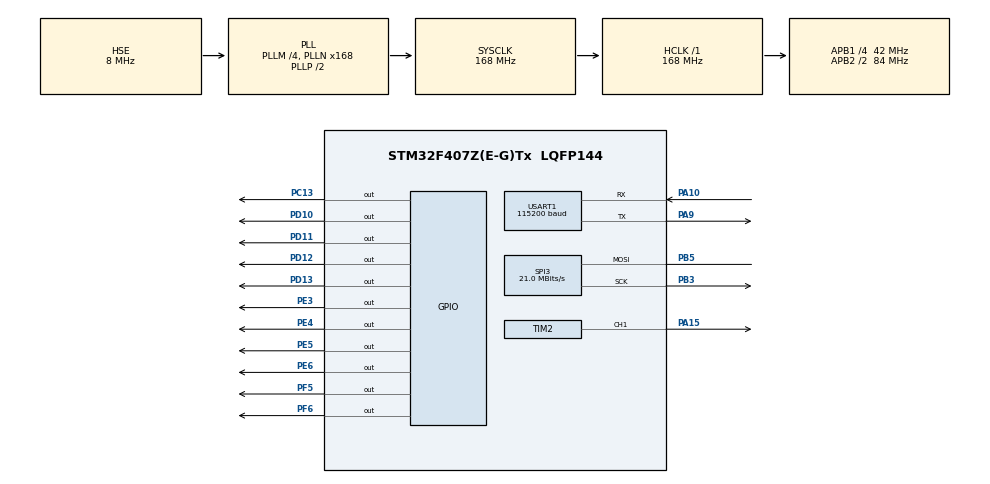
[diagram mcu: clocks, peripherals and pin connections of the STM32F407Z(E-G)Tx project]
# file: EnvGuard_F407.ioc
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Dma.Request0=USART1_RX
Dma.Request1=USART1_TX
Dma.USART1_RX.0.Direction=DMA_PERIPH_TO_MEMORY
Dma.USART1_RX.0.FIFOMode=DMA_FIFOMODE_DISABLE
Dma.USART1_RX.0.Instance=DMA2_Stream2
Dma.USART1_RX.0.MemDataAlignment=DMA_MDATAALIGN_BYTE
Dma.USART1_RX.0.MemInc=DMA_MINC_ENABLE
Dma.USART1_RX.0.Mode=DMA_CIRCULAR
Dma.USART1_RX.0.PeriphDataAlignment=DMA_PDATAALIGN_BYTE
Dma.USART1_RX.0.PeriphInc=DMA_PINC_DISABLE
Dma.USART1_RX.0.Priority=DMA_PRIORITY_LOW
Dma.USART1_TX.1.Direction=DMA_MEMORY_TO_PERIPH
Dma.USART1_TX.1.FIFOMode=DMA_FIFOMODE_DISABLE
Dma.USART1_TX.1.Instance=DMA2_Stream7
Dma.USART1_TX.1.MemDataAlignment=DMA_MDATAALIGN_BYTE
Dma.USART1_TX.1.MemInc=DMA_MINC_ENABLE
Dma.USART1_TX.1.Mode=DMA_NORMAL
Dma.USART1_TX.1.PeriphDataAlignment=DMA_PDATAALIGN_BYTE
Dma.USART1_TX.1.PeriphInc=DMA_PINC_DISABLE
Dma.USART1_TX.1.Priority=DMA_PRIORITY_LOW
FREERTOS.Tasks01=Init_Task,41,128,Init_StartTask,As external,NULL,Dynamic,NULL,NULL;LED_Task,24,128,LED_StartTask,As external,NULL,Dynamic,NULL,NULL;LCD_Task,8,256,LCD_StartTask,As external,NULL,Dynamic,NULL,NULL;DHT11_Task,40,128,DHT11_StartTask,As external,NULL,Dynamic,NULL,NULL;Bluetooth_Task,24,512,Bluetooth_StartTask,As external,NULL,Dynamic,NULL,NULL;Humidifier_Task,24,128,Humidifier_StartTask,As external,NULL,Dynamic,NULL,NULL;Warm_Task,24,128,Warm_StartTask,As external,NULL,Dynamic,NULL,NULL;Fan_Task,24,128,Fan_StartTask,As external,NULL,Dynamic,NULL,NULL;Watchdog_Task,1,128,Watchdog_StartTask,As external,NULL,Dynamic,NULL,NULL
FREERTOS.configTOTAL_HEAP_SIZE=20000
FREERTOS.configUSE_NEWLIB_REENTRANT=1
Mcu.Family=STM32F4
Mcu.Name=STM32F407Z(E-G)Tx
Mcu.Package=LQFP144
NVIC.DMA2_Stream2_IRQn=true\:5\:0\:false\:false\:true\:true\:false\:true\:true
NVIC.DMA2_Stream7_IRQn=true\:5\:0\:false\:false\:true\:true\:false\:true\:true
NVIC.PriorityGroup=NVIC_PRIORITYGROUP_4
NVIC.TIM1_UP_TIM10_IRQn=true\:5\:0\:false\:false\:true\:true\:true\:true\:true
NVIC.TIM6_DAC_IRQn=true\:15\:0\:false\:false\:true\:false\:false\:true\:true
NVIC.TimeBase=TIM6_DAC_IRQn
NVIC.TimeBaseIP=TIM6
NVIC.USART1_IRQn=true\:5\:0\:false\:false\:true\:true\:true\:true\:true
PA10.Mode=Asynchronous
PA10.Signal=USART1_RX
PA13.Mode=Serial_Wire
PA13.Signal=SYS_JTMS-SWDIO
PA14.Mode=Serial_Wire
PA14.Signal=SYS_JTCK-SWCLK
PA15.Signal=S_TIM2_CH1_ETR
PA9.Mode=Asynchronous
PA9.Signal=USART1_TX
PB3.Mode=Simplex_Bidirectional_Master
PB3.Signal=SPI3_SCK
PB5.Mode=Simplex_Bidirectional_Master
PB5.Signal=SPI3_MOSI
PC13-ANTI_TAMP.PinState=GPIO_PIN_SET
PC13-ANTI_TAMP.Signal=GPIO_Output
PC14-OSC32_IN.Mode=LSE-External-Oscillator
PC14-OSC32_IN.Signal=RCC_OSC32_IN
PC15-OSC32_OUT.Mode=LSE-External-Oscillator
PC15-OSC32_OUT.Signal=RCC_OSC32_OUT
PD10.PinState=GPIO_PIN_SET
PD10.Signal=GPIO_Output
PD11.GPIO_Speed=GPIO_SPEED_FREQ_HIGH
PD11.PinState=GPIO_PIN_RESET
PD11.Signal=GPIO_Output
PD12.GPIO_Speed=GPIO_SPEED_FREQ_HIGH
PD12.PinState=GPIO_PIN_RESET
PD12.Signal=GPIO_Output
PD13.GPIO_Speed=GPIO_SPEED_FREQ_HIGH
PD13.Signal=GPIO_Output
PE3.Signal=GPIO_Output
PE4.Signal=GPIO_Output
PE5.Signal=GPIO_Output
PE6.Signal=GPIO_Output
PF5.Signal=GPIO_Output
PF6.Signal=GPIO_Output
PH0-OSC_IN.Mode=HSE-External-Oscillator
PH0-OSC_IN.Signal=RCC_OSC_IN
PH1-OSC_OUT.Mode=HSE-External-Oscillator
PH1-OSC_OUT.Signal=RCC_OSC_OUT
ProjectManager.HeapSize=0x200
ProjectManager.StackSize=0x400
ProjectManager.TargetToolchain=STM32CubeIDE
RCC.48MHZClocksFreq_Value=84000000
RCC.AHBFreq_Value=168000000
RCC.APB1CLKDivider=RCC_HCLK_DIV4
RCC.APB1Freq_Value=42000000
RCC.APB1TimFreq_Value=84000000
RCC.APB2CLKDivider=RCC_HCLK_DIV2
RCC.APB2Freq_Value=84000000
RCC.APB2TimFreq_Value=168000000
RCC.CortexFreq_Value=168000000
RCC.HCLKFreq_Value=168000000
RCC.HSE_VALUE=8000000
RCC.HSI_VALUE=16000000
RCC.PLLM=4
RCC.PLLN=168
RCC.PLLSourceVirtual=RCC_PLLSOURCE_HSE
RCC.SYSCLKFreq_VALUE=168000000
RCC.SYSCLKSource=RCC_SYSCLKSOURCE_PLLCLK
RCC.VCOOutputFreq_Value=336000000
SH.S_TIM2_CH1_ETR.0=TIM2_CH1,PWM Generation1 CH1
SPI3.CalculateBaudRate=21.0 MBits/s
SPI3.Direction=SPI_DIRECTION_1LINE
SPI3.Mode=SPI_MODE_MASTER
SPI3.VirtualType=VM_MASTER
TIM1.Period=1000-1
TIM1.Prescaler=168-1
TIM2.Channel-PWM\ Generation1\ CH1=TIM_CHANNEL_1
TIM2.Period=100-1
TIM2.Prescaler=42-1
USART1.BaudRate=115200
USART1.VirtualMode=VM_ASYNC
VP_FREERTOS_VS_CMSIS_V2.Mode=CMSIS_V2
VP_IWDG_VS_IWDG.Mode=IWDG_Activate
VP_SYS_VS_tim6.Mode=TIM6
VP_TIM1_VS_ClockSourceINT.Mode=Internal
board=custom

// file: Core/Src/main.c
/* USER CODE BEGIN Header */
/**
  ******************************************************************************
  * @file           : main.c
  * @brief          : Main program body
  ******************************************************************************
  * @attention
  *
  * Copyright (c) 2026 STMicroelectronics.
  * All rights reserved.
  *
  * This software is licensed under terms that can be found in the LICENSE file
  * in the root directory of this software component.
  * If no LICENSE file comes with this software, it is provided AS-IS.
  *
  ******************************************************************************
  */
/* USER CODE END Header */
#include "main.h"
#include "cmsis_os.h"
#include "dma.h"
#include "iwdg.h"
#include "spi.h"
#include "tim.h"
#include "usart.h"
#include "gpio.h"

/* USER CODE BEGIN Includes */
#include "app_tick.h"    /* App_Heartbeat()：任务节拍分频在 App 层 */
#include "bsp_usart1.h"  /* 串口收发完成/出错回调转调（Bsp 层） */
#include "app_diag.h"    /* App_Diag_Init()：从 .noinit 保留区读回上一轮故障记录 */
#include "app_watchdog.h" /* App_Watchdog_ResetCause()：取本次复位原因 */
/* USER CODE END Includes */

/* USER CODE BEGIN PV */
/* Sem2_LED / Sem2_LCD / Sem2_DHT11 / Sem2_Bluetooth 的声明已随实现移到
 * App/Inc/app_data.h，在 USER CODE BEGIN Includes 里统一引入。 */
/* USER CODE END PV */

void SystemClock_Config(void);
void MX_FREERTOS_Init(void);

int main(void)
{

  /* MCU Configuration--------------------------------------------------------*/

  /* Reset of all peripherals, Initializes the Flash interface and the Systick. */
  HAL_Init();

  /* Configure the system clock */
  SystemClock_Config();

  /* Initialize all configured peripherals */
  MX_GPIO_Init();
  MX_DMA_Init();
  MX_TIM1_Init();
  MX_TIM2_Init();
  MX_USART1_UART_Init();
  MX_SPI3_Init();
  MX_IWDG_Init();
  /* USER CODE BEGIN 2 */
    /* 复位后第一件事：取复位原因，读回上一轮的故障记录。*/
    uint32_t reset_cause = App_Watchdog_ResetCause();
    App_Diag_Init(reset_cause);
    App_Watchdog_FaultScreen(reset_cause);
  /* USER CODE END 2 */

  /* Init scheduler */
  osKernelInitialize();  /* Call init function for freertos objects (in cmsis_os2.c) */
  MX_FREERTOS_Init();

  /* Start scheduler */
  osKernelStart();

  /* We should never get here as control is now taken by the scheduler */

  /* Infinite loop */
    while (1) {

    }
}

void SystemClock_Config(void)
{
  RCC_OscInitTypeDef RCC_OscInitStruct = {0};
  RCC_ClkInitTypeDef RCC_ClkInitStruct = {0};

  /** Configure the main internal regulator output voltage
  */
  __HAL_RCC_PWR_CLK_ENABLE();
  __HAL_PWR_VOLTAGESCALING_CONFIG(PWR_REGULATOR_VOLTAGE_SCALE1);

  /** Initializes the RCC Oscillators according to the specified parameters
  * in the RCC_OscInitTypeDef structure.
  */
  RCC_OscInitStruct.OscillatorType = RCC_OSCILLATORTYPE_LSI|RCC_OSCILLATORTYPE_HSE;
  RCC_OscInitStruct.HSEState = RCC_HSE_ON;
  RCC_OscInitStruct.LSIState = RCC_LSI_ON;
  RCC_OscInitStruct.PLL.PLLState = RCC_PLL_ON;
  RCC_OscInitStruct.PLL.PLLSource = RCC_PLLSOURCE_HSE;
  RCC_OscInitStruct.PLL.PLLM = 4;
  RCC_OscInitStruct.PLL.PLLN = 168;
  RCC_OscInitStruct.PLL.PLLP = RCC_PLLP_DIV2;
  RCC_OscInitStruct.PLL.PLLQ = 4;
  if (HAL_RCC_OscConfig(&RCC_OscInitStruct) != HAL_OK)
  {
    Error_Handler();
  }

  /** Initializes the CPU, AHB and APB buses clocks
  */
  RCC_ClkInitStruct.ClockType = RCC_CLOCKTYPE_HCLK|RCC_CLOCKTYPE_SYSCLK
                              |RCC_CLOCKTYPE_PCLK1|RCC_CLOCKTYPE_PCLK2;
  RCC_ClkInitStruct.SYSCLKSource = RCC_SYSCLKSOURCE_PLLCLK;
  RCC_ClkInitStruct.AHBCLKDivider = RCC_SYSCLK_DIV1;
  RCC_ClkInitStruct.APB1CLKDivider = RCC_HCLK_DIV4;
  RCC_ClkInitStruct.APB2CLKDivider = RCC_HCLK_DIV2;

  if (HAL_RCC_ClockConfig(&RCC_ClkInitStruct, FLASH_LATENCY_5) != HAL_OK)
  {
    Error_Handler();
  }
}

/* USER CODE BEGIN 4 */
/* UART 发送中断回调函数 */
void HAL_UART_TxCpltCallback(UART_HandleTypeDef *huart) {
    // 串口DMA发送完毕时调用
    if (huart->Instance == USART1) {
        Bsp_Usart1_Tx_IDLE();
    }
}

/* 串口DMA 缓存区溢出中断回调函数 */
void HAL_UART_ErrorCallback(UART_HandleTypeDef *huart) {
    if (huart->Instance == USART1) {
        /* 清错误标志、放开"发送忙"、重启 DMA 接收，都在 Bsp 里做 */
        Bsp_Usart1_OnError();
    }
}
/* USER CODE END 4 */

void HAL_TIM_PeriodElapsedCallback(TIM_HandleTypeDef *htim)
{
  /* USER CODE BEGIN Callback 0 */
    if (htim->Instance == TIM1) {
        /* 1ms 节拍的分频 */
        App_Heartbeat();
    }
  /* USER CODE END Callback 0 */
  if (htim->Instance == TIM6)
  {
    HAL_IncTick();
  }
}

void Error_Handler(void)
{
    __disable_irq();
    while (1) {
    }
}

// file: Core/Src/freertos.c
/* USER CODE BEGIN Header */
/**
  ******************************************************************************
  * File Name          : freertos.c
  * Description        : Code for freertos applications
  ******************************************************************************
  * @attention
  *
  * Copyright (c) 2026 STMicroelectronics.
  * All rights reserved.
  *
  * This software is licensed under terms that can be found in the LICENSE file
  * in the root directory of this software component.
  * If no LICENSE file comes with this software, it is provided AS-IS.
  *
  ******************************************************************************
  */
/* USER CODE END Header */

#include "FreeRTOS.h"
#include "task.h"
#include "main.h"
#include "cmsis_os.h"

/* USER CODE BEGIN Includes */
/* 本文件只做"创建"：RTOS 对象由 App_Data_Init() 建，线程体在 App/Src/app_threads.c */
#include "app_data.h"      /* SensorData / 互斥锁 / 事件标志 + App_Data_Init() */
#include "app_tick.h"      /* 任务节拍的 4 个二值信号量 Sem2_*（释放由 TIM1 中断做） */
#include "app_threads.h"   /* 线程入口原型：不依赖下面生成区的声明也能编译 */
/* USER CODE END Includes */

/* USER CODE BEGIN Variables */
/* 共享数据、互斥锁、二值信号量、事件标志组、控制参数（回差 / 风扇档位 / LCD 文案）
 * 全部在 App 层：
 *     App/Src/app_data.c      SensorData + Mutex_SensorData + EF_SensorData
 *     App/Src/app_tick.c      Sem2_*（4 个节拍信号量）+ TIM1 分频
 *     App/Src/app_control.c   回差与风扇档位策略
 *     App/Src/app_lcd.c       LCD 版面与文案
 *     App/Src/app_threads.c   8 个线程入口（Init_StartTask ... Fan_StartTask）
 * 本文件只保留 CubeMX 生成的线程句柄与属性表。 */
/* USER CODE END Variables */
/* Definitions for Init_Task */
osThreadId_t Init_TaskHandle;
const osThreadAttr_t Init_Task_attributes = {
  .name = "Init_Task",
  .stack_size = 128 * 4,
  .priority = (osPriority_t) osPriorityHigh1,
};
/* Definitions for LED_Task */
osThreadId_t LED_TaskHandle;
const osThreadAttr_t LED_Task_attributes = {
  .name = "LED_Task",
  .stack_size = 128 * 4,
  .priority = (osPriority_t) osPriorityNormal,
};
/* Definitions for LCD_Task */
osThreadId_t LCD_TaskHandle;
const osThreadAttr_t LCD_Task_attributes = {
  .name = "LCD_Task",
  .stack_size = 256 * 4,
  .priority = (osPriority_t) osPriorityLow,
};
/* Definitions for DHT11_Task */
osThreadId_t DHT11_TaskHandle;
const osThreadAttr_t DHT11_Task_attributes = {
  .name = "DHT11_Task",
  .stack_size = 128 * 4,
  .priority = (osPriority_t) osPriorityHigh,
};
/* Definitions for Bluetooth_Task */
osThreadId_t Bluetooth_TaskHandle;
const osThreadAttr_t Bluetooth_Task_attributes = {
  .name = "Bluetooth_Task",
  .stack_size = 512 * 4,
  .priority = (osPriority_t) osPriorityNormal,
};
/* Definitions for Humidifier_Task */
osThreadId_t Humidifier_TaskHandle;
const osThreadAttr_t Humidifier_Task_attributes = {
  .name = "Humidifier_Task",
  .stack_size = 128 * 4,
  .priority = (osPriority_t) osPriorityNormal,
};
/* Definitions for Warm_Task */
osThreadId_t Warm_TaskHandle;
const osThreadAttr_t Warm_Task_attributes = {
  .name = "Warm_Task",
  .stack_size = 128 * 4,
  .priority = (osPriority_t) osPriorityNormal,
};
/* Definitions for Fan_Task */
osThreadId_t Fan_TaskHandle;
const osThreadAttr_t Fan_Task_attributes = {
  .name = "Fan_Task",
  .stack_size = 128 * 4,
  .priority = (osPriority_t) osPriorityNormal,
};
/* Definitions for Watchdog_Task */
osThreadId_t Watchdog_TaskHandle;
const osThreadAttr_t Watchdog_Task_attributes = {
  .name = "Watchdog_Task",
  .stack_size = 128 * 4,
  .priority = (osPriority_t) osPriorityIdle,
};

extern void Init_StartTask(void *argument);
extern void LED_StartTask(void *argument);
extern void LCD_StartTask(void *argument);
extern void DHT11_StartTask(void *argument);
extern void Bluetooth_StartTask(void *argument);
extern void Humidifier_StartTask(void *argument);
extern void Warm_StartTask(void *argument);
extern void Fan_StartTask(void *argument);
extern void Watchdog_StartTask(void *argument);

void MX_FREERTOS_Init(void); /* (MISRA C 2004 rule 8.1) */

void MX_FREERTOS_Init(void) {

  /* USER CODE BEGIN RTOS_MUTEX */
    /* 业务同步对象（互斥锁 / 事件标志）在 App 层创建，必须早于任务创建。 */
    App_Data_Init();
  /* USER CODE END RTOS_MUTEX */

  /* USER CODE BEGIN RTOS_SEMAPHORES */
    /* add semaphores, ... */
    /* 任务节拍的 4 个二值信号量（定时 1ms、TIM1 中断按 100/100/1000/200 释放）。
     * 必须赶在任何任务创建之前建好，否则任务拿到的是空句柄。 */
    App_Sem_Init();
  /* USER CODE END RTOS_SEMAPHORES */

  /* Create the thread(s) */
  /* creation of Init_Task */
  Init_TaskHandle = osThreadNew(Init_StartTask, NULL, &Init_Task_attributes);

  /* creation of LED_Task */
  LED_TaskHandle = osThreadNew(LED_StartTask, NULL, &LED_Task_attributes);

  /* creation of LCD_Task */
  LCD_TaskHandle = osThreadNew(LCD_StartTask, NULL, &LCD_Task_attributes);

  /* creation of DHT11_Task */
  DHT11_TaskHandle = osThreadNew(DHT11_StartTask, NULL, &DHT11_Task_attributes);

  /* creation of Bluetooth_Task */
  Bluetooth_TaskHandle = osThreadNew(Bluetooth_StartTask, NULL, &Bluetooth_Task_attributes);

  /* creation of Humidifier_Task */
  Humidifier_TaskHandle = osThreadNew(Humidifier_StartTask, NULL, &Humidifier_Task_attributes);

  /* creation of Warm_Task */
  Warm_TaskHandle = osThreadNew(Warm_StartTask, NULL, &Warm_Task_attributes);

  /* creation of Fan_Task */
  Fan_TaskHandle = osThreadNew(Fan_StartTask, NULL, &Fan_Task_attributes);

  /* creation of Watchdog_Task */
  Watchdog_TaskHandle = osThreadNew(Watchdog_StartTask, NULL, &Watchdog_Task_attributes);

  /* USER CODE BEGIN RTOS_THREADS */
    if (Watchdog_TaskHandle == NULL) {
      Error_Handler();
    }
  /* USER CODE END RTOS_THREADS */

  /* USER CODE BEGIN RTOS_EVENTS */
    /* add events, ... */
    /* EF_SensorData 已由 App_Data_Init() 创建 */
  /* USER CODE END RTOS_EVENTS */

}
